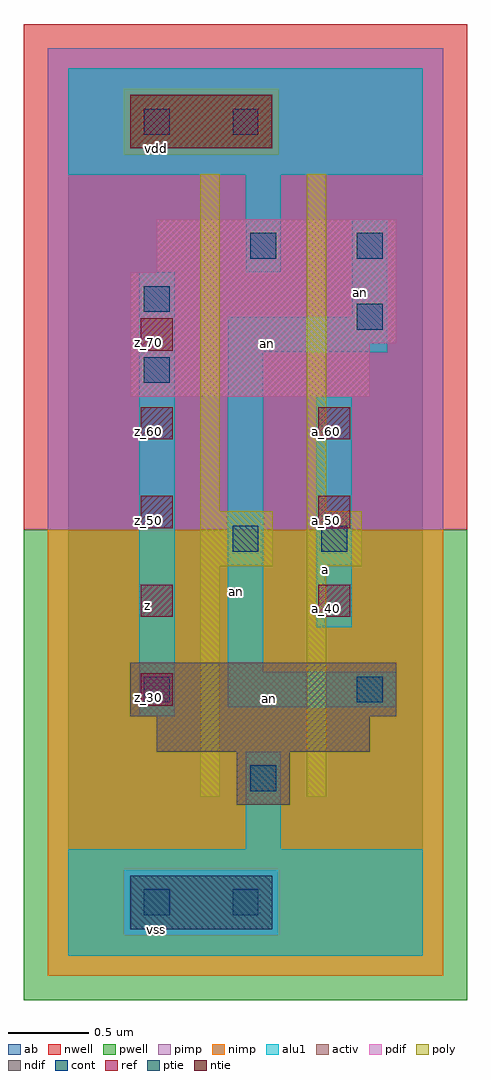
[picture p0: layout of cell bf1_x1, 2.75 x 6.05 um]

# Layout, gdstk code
import gdstk
lib = gdstk.Library(unit=1e-6, precision=2.5e-09)
def R(c, l, rs):  # rectangles x0, y0, x1, y1
    for r in rs: c.add(gdstk.rectangle(r[:2], r[2:], *l))
def A(c, l, x, y, w, h, nx, ny, dx, dy):  # array of equal rectangles
    R(c, l, [(x+i*dx, y+j*dy, x+i*dx+w, y+j*dy+h) for i in range(nx) for j in range(ny)])
ndif = (3, 0)
pdif = (4, 0)
ntie = (5, 0)
ptie = (6, 0)
ref = (24, 0)
cont = (25, 0)
pwell = (41, 0)
nwell = (42, 0)
activ = (43, 0)
pimp = (44, 0)
nimp = (45, 0)
poly = (46, 0)
alu1 = (49, 0)
ab = (63, 0)

bf1_x1 = lib.new_cell('bf1_x1')
R(bf1_x1, ndif, [(1.045,0.935,1.375,1.265), (0.55,1.265,1.87,1.485), (0.385,1.485,2.035,1.815)])
R(bf1_x1, pdif, [(0.385,3.465,1.87,3.795), (0.385,3.795,2.035,4.235), (0.55,4.235,2.035,4.565)])
R(bf1_x1, ntie, [(0.385,5.005,1.265,5.335)])
R(bf1_x1, ptie, [(0.385,0.165,1.265,0.495)])
A(bf1_x1, ref, 0.45, 1.55, 0.2, 0.2, 1, 5, 0, 0.55)
A(bf1_x1, ref, 1.55, 2.1, 0.2, 0.2, 1, 3, 0, 0.55)
R(bf1_x1, cont, [(0.47,0.25,0.63,0.41), (1.02,0.25,1.18,0.41), (1.13,1.02,1.29,1.18), (0.47,1.57,0.63,1.73), (1.79,1.57,1.95,1.73), (1.02,2.505,1.18,2.665), (1.57,2.505,1.73,2.665), (0.47,3.55,0.63,3.71), (1.79,3.88,1.95,4.04), (0.47,3.99,0.63,4.15), (1.13,4.32,1.29,4.48), (1.79,4.32,1.95,4.48), (0.47,5.09,0.63,5.25), (1.02,5.09,1.18,5.25)])
R(bf1_x1, pwell, [(-0.275,-0.275,2.475,2.64)])
R(bf1_x1, nwell, [(-0.275,2.64,2.475,5.775)])
R(bf1_x1, activ, [(0.385,0.165,1.265,0.495), (1.045,0.935,1.375,1.265), (0.55,1.265,1.87,1.485), (0.385,1.485,2.035,1.815), (0.385,3.465,1.87,3.795), (0.385,3.795,2.035,4.235), (0.55,4.235,2.035,4.565), (0.385,5.005,1.265,5.335)])
R(bf1_x1, pimp, [(0.345,0.125,1.305,0.535), (-0.125,2.64,2.325,4.965), (-0.125,4.965,0.345,5.375), (1.305,4.965,2.325,5.375), (-0.125,5.375,2.325,5.625)])
R(bf1_x1, nimp, [(-0.125,-0.125,2.325,0.125), (-0.125,0.125,0.345,0.535), (1.305,0.125,2.325,0.535), (-0.125,0.535,2.325,2.64), (0.345,4.965,1.305,5.375)])
R(bf1_x1, poly, [(0.82,0.985,0.94,2.415), (1.48,0.985,1.6,2.415), (0.82,2.415,1.27,2.755), (1.48,2.415,1.82,2.755), (0.82,2.755,0.94,4.845), (1.48,2.755,1.6,4.845)])
R(bf1_x1, alu1, [(0,0,2.2,0.66), (1.1,0.66,1.32,1.265), (0.44,1.485,0.66,4.235), (0.99,1.54,2.035,1.76), (0.99,1.76,1.21,3.74), (1.54,2.035,1.76,3.465), (0.99,3.74,1.98,3.96), (1.76,3.96,1.98,4.565), (1.1,4.235,1.32,4.84), (0,4.84,2.2,5.5)])
R(bf1_x1, ab, [(0,0,2.2,5.5)])
bf1_x1.add(gdstk.Label('vss', (0.55,0.165), layer=49, texttype=0))
bf1_x1.add(gdstk.Label('an', (1.25,1.595), layer=49, texttype=0))
bf1_x1.add(gdstk.Label('a', (1.595,2.3925), layer=49, texttype=0))
bf1_x1.add(gdstk.Label('an', (1.045,2.255), layer=49, texttype=0))
bf1_x1.add(gdstk.Label('an', (1.2375,3.795), layer=49, texttype=0))
bf1_x1.add(gdstk.Label('an', (1.815,4.11), layer=49, texttype=0))
bf1_x1.add(gdstk.Label('z', (0.495,2.1725), layer=49, texttype=0))
bf1_x1.add(gdstk.Label('vdd', (0.55,5.005), layer=49, texttype=0))
bf1_x1.add(gdstk.Label('a_50', (1.6,2.7), layer=24, texttype=0))
bf1_x1.add(gdstk.Label('a_60', (1.6,3.25), layer=24, texttype=0))
bf1_x1.add(gdstk.Label('a_40', (1.6,2.15), layer=24, texttype=0))
bf1_x1.add(gdstk.Label('z_50', (0.5,2.7), layer=24, texttype=0))
bf1_x1.add(gdstk.Label('z_40', (0.5,2.15), layer=24, texttype=0))
bf1_x1.add(gdstk.Label('z_60', (0.5,3.25), layer=24, texttype=0))
bf1_x1.add(gdstk.Label('z_70', (0.5,3.8), layer=24, texttype=0))
bf1_x1.add(gdstk.Label('z_30', (0.5,1.6), layer=24, texttype=0))

lib.write_gds('bf1_x1.gds')
